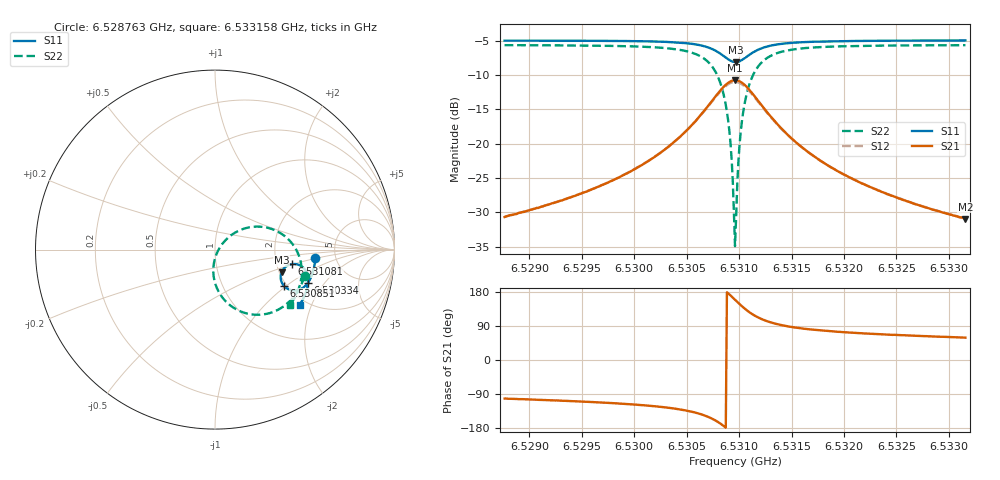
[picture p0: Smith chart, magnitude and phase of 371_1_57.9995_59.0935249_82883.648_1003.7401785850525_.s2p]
#  HZ  S  RI  R  50.00
! Rohde & Schwarz Vector Network Analyzer
! Rohde-Schwarz,ZNB20-2Port,1311601062101988,3.16
! Created: UTC 3/21/2024, 1:06:55 AM
! freq[Hz]  re:S11  im:S11  re:S21  im:S21  re:S12  im:S12  re:S22  im:S22
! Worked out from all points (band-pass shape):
!   401 points, 6.528763 GHz to 6.533158 GHz, reference 50 ohm
!   highest |S21| = -10.76 dB at 6.530961 GHz (marker M1); lowest = -30.9 dB at 6.533158 GHz (marker M2)
!   |S21| within 3 dB of the highest: 6.530742 GHz to 6.531181 GHz (438.8 kHz wide, 0.00672 % of centre)
!   lowest |S11| = -8.1 dB at 6.530972 GHz (marker M3), VSWR 2.29, Z = 103 - j30.5 ohm
!   |S11| at or under -10 dB: nowhere
!   |S22| runs from -34.9 to -5.7 dB; largest |S21 - S12| = 0.011
!   S11 on the Smith chart (normalised r, x): 6.528763 GHz: 3.49, -0.46; 6.530334 GHz: 2.59, -1.39; 6.530851 GHz: 1.93, -0.97; 6.531081 GHz: 2.42, -0.48; 6.533158 GHz: 1.82, -1.65
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6.5287634e9  0.5595 -0.0448  -0.00599 -0.0287  -0.00653 -0.0286  0.4993 -0.1479
6.5294995e9  0.5504 -0.1053  -0.0147 -0.041  -0.0156 -0.0407  0.4711 -0.2149
6.5302355e9  0.5236 -0.1763  -0.0461 -0.0705  -0.048 -0.0695  0.3943 -0.3078
6.5303344e9  0.5158 -0.1878  -0.0569 -0.0775  -0.0593 -0.0759  0.3712 -0.324
6.5306859e9  0.4529 -0.2274  -0.1533 -0.0957  -0.1554 -0.0899  0.1881 -0.3583
6.5307848e9  0.414 -0.2228  -0.2137 -0.0724  -0.2133 -0.0639  0.0848 -0.3108
6.5308507e9  0.385 -0.203  -0.2569 -0.0282  -0.2527 -0.0189  0.0176 -0.2294
6.5308836e9  0.3734 -0.1858  -0.2726 0.00575  -0.2663 0.0142  -0.00374 -0.1707
6.5309056e9  0.3683 -0.1719  -0.2787 0.032  -0.2709 0.0396  -0.00942 -0.1259
6.5309276e9  0.366 -0.1566  -0.2796 0.0603  -0.2706 0.0665  -0.00653 -0.0788
6.5309385e9  0.366 -0.1488  -0.2779 0.0747  -0.2687 0.0802  -0.00174 -0.0553
6.5309495e9  0.3671 -0.1408  -0.275 0.0892  -0.2653 0.0937  0.00551 -0.0321
6.5309605e9  0.3688 -0.133  -0.2705 0.1035  -0.2606 0.1068  0.0152 -0.00957
6.5309715e9  0.3714 -0.1254  -0.2645 0.117  -0.2547 0.1195  0.027 0.0119
6.5310154e9  0.3892 -0.0997  -0.2295 0.1627  -0.2207 0.1621  0.0917 0.0815
6.5310484e9  0.4075 -0.0872  -0.1959 0.185  -0.1886 0.1829  0.1507 0.1129
6.5310814e9  0.4266 -0.0811  -0.1614 0.1967  -0.1557 0.1939  0.2098 0.1268
6.5311583e9  0.4654 -0.0844  -0.0933 0.1948  -0.0903 0.1922  0.3247 0.1118
6.5312681e9  0.4981 -0.107  -0.0357 0.1648  -0.0343 0.1635  0.4183 0.0475
6.5316965e9  0.5198 -0.1829  0.0141 0.0816  0.015 0.0813  0.4833 -0.1297
6.5324326e9  0.4995 -0.2554  0.0167 0.039  0.0174 0.0388  0.4556 -0.2451
6.5331576e9  0.4715 -0.3085  0.0146 0.0243  0.0152 0.0242  0.4203 -0.3073
